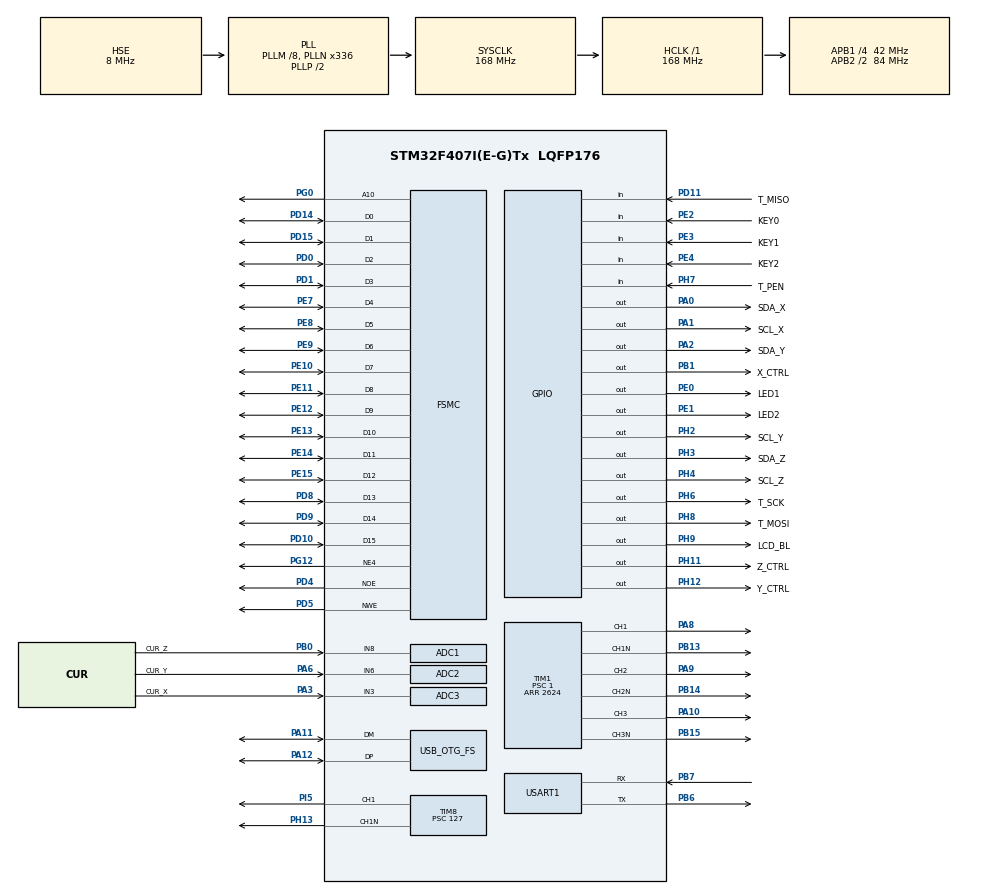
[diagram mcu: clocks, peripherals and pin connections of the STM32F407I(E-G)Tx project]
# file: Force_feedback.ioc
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ADC1.Channel-1\#ChannelRegularConversion=ADC_CHANNEL_8
ADC1.Channel-2\#ChannelInjectedConversion=ADC_CHANNEL_8
ADC1.ClockPrescaler=ADC_CLOCK_SYNC_PCLK_DIV6
ADC1.ContinuousConvMode=ENABLE
ADC1.DMAContinuousRequests=ENABLE
ADC1.ExternalTrigInjecConv=ADC_EXTERNALTRIGINJECCONV_T1_TRGO
ADC1.InjNumberOfConversion=1
ADC1.InjectedOffset-2\#ChannelInjectedConversion=0
ADC1.InjectedRank-2\#ChannelInjectedConversion=1
ADC1.NbrOfConversion=1
ADC1.NbrOfConversionFlag=1
ADC1.Rank-1\#ChannelRegularConversion=1
ADC1.SamplingTime-1\#ChannelRegularConversion=ADC_SAMPLETIME_28CYCLES
ADC1.SamplingTime-2\#ChannelInjectedConversion=ADC_SAMPLETIME_28CYCLES
ADC1.ScanConvMode=ENABLE
ADC1.master=1
ADC2.Channel-0\#ChannelRegularConversion=ADC_CHANNEL_6
ADC2.Channel-1\#ChannelInjectedConversion=ADC_CHANNEL_6
ADC2.ClockPrescaler=ADC_CLOCK_SYNC_PCLK_DIV6
ADC2.ContinuousConvMode=ENABLE
ADC2.ExternalTrigInjecConv=ADC_EXTERNALTRIGINJECCONV_T1_TRGO
ADC2.InjNumberOfConversion=1
ADC2.InjectedOffset-1\#ChannelInjectedConversion=0
ADC2.InjectedRank-1\#ChannelInjectedConversion=1
ADC2.NbrOfConversionFlag=1
ADC2.Rank-0\#ChannelRegularConversion=1
ADC2.SamplingTime-0\#ChannelRegularConversion=ADC_SAMPLETIME_3CYCLES
ADC2.SamplingTime-1\#ChannelInjectedConversion=ADC_SAMPLETIME_28CYCLES
ADC2.ScanConvMode=ENABLE
ADC3.Channel-0\#ChannelRegularConversion=ADC_CHANNEL_3
ADC3.Channel-1\#ChannelInjectedConversion=ADC_CHANNEL_3
ADC3.ClockPrescaler=ADC_CLOCK_SYNC_PCLK_DIV6
ADC3.ContinuousConvMode=ENABLE
ADC3.ExternalTrigInjecConv=ADC_EXTERNALTRIGINJECCONV_T1_TRGO
ADC3.InjNumberOfConversion=1
ADC3.InjectedOffset-1\#ChannelInjectedConversion=0
ADC3.InjectedRank-1\#ChannelInjectedConversion=1
ADC3.NbrOfConversionFlag=1
ADC3.Rank-0\#ChannelRegularConversion=1
ADC3.SamplingTime-0\#ChannelRegularConversion=ADC_SAMPLETIME_3CYCLES
ADC3.SamplingTime-1\#ChannelInjectedConversion=ADC_SAMPLETIME_28CYCLES
ADC3.ScanConvMode=ENABLE
Dma.ADC1.0.Direction=DMA_PERIPH_TO_MEMORY
Dma.ADC1.0.FIFOMode=DMA_FIFOMODE_DISABLE
Dma.ADC1.0.Instance=DMA2_Stream0
Dma.ADC1.0.MemDataAlignment=DMA_MDATAALIGN_HALFWORD
Dma.ADC1.0.MemInc=DMA_MINC_ENABLE
Dma.ADC1.0.Mode=DMA_CIRCULAR
Dma.ADC1.0.PeriphDataAlignment=DMA_PDATAALIGN_HALFWORD
Dma.ADC1.0.PeriphInc=DMA_PINC_DISABLE
Dma.ADC1.0.Priority=DMA_PRIORITY_MEDIUM
Dma.Request0=ADC1
Dma.Request1=USART1_TX
Dma.USART1_TX.1.Direction=DMA_MEMORY_TO_PERIPH
Dma.USART1_TX.1.FIFOMode=DMA_FIFOMODE_DISABLE
Dma.USART1_TX.1.Instance=DMA2_Stream7
Dma.USART1_TX.1.MemDataAlignment=DMA_MDATAALIGN_BYTE
Dma.USART1_TX.1.MemInc=DMA_MINC_ENABLE
Dma.USART1_TX.1.Mode=DMA_NORMAL
Dma.USART1_TX.1.PeriphDataAlignment=DMA_PDATAALIGN_BYTE
Dma.USART1_TX.1.PeriphInc=DMA_PINC_DISABLE
Dma.USART1_TX.1.Priority=DMA_PRIORITY_LOW
FSMC.AddressSetupTime4=2
FSMC.BusTurnAroundDuration4=0
FSMC.DataSetupTime4=5
FSMC.ExtendedAddressSetupTime4=0
FSMC.ExtendedBusTurnAroundDuration4=0
FSMC.ExtendedMode4=FSMC_EXTENDED_MODE_ENABLE
Mcu.Family=STM32F4
Mcu.Name=STM32F407I(E-G)Tx
Mcu.Package=LQFP176
NVIC.ADC_IRQn=true\:1\:0\:true\:false\:true\:true\:true\:true
NVIC.DMA2_Stream0_IRQn=true\:0\:0\:false\:false\:true\:false\:true\:true
NVIC.DMA2_Stream7_IRQn=true\:0\:0\:false\:false\:true\:false\:true\:true
NVIC.PriorityGroup=NVIC_PRIORITYGROUP_4
NVIC.TIM6_DAC_IRQn=true\:0\:0\:false\:false\:true\:true\:true\:true
NVIC.USART1_IRQn=true\:0\:0\:false\:false\:true\:true\:true\:true
PA0-WKUP.GPIO_Label=SDA_X
PA0-WKUP.GPIO_ModeDefaultOutputPP=GPIO_MODE_OUTPUT_OD
PA0-WKUP.GPIO_PuPd=GPIO_PULLUP
PA0-WKUP.GPIO_Speed=GPIO_SPEED_FREQ_LOW
PA0-WKUP.PinState=GPIO_PIN_SET
PA0-WKUP.Signal=GPIO_Output
PA1.GPIO_Label=SCL_X
PA1.GPIO_PuPd=GPIO_PULLUP
PA1.GPIO_Speed=GPIO_SPEED_FREQ_LOW
PA1.PinState=GPIO_PIN_SET
PA1.Signal=GPIO_Output
PA10.GPIO_Speed=GPIO_SPEED_FREQ_HIGH
PA10.Signal=S_TIM1_CH3
PA11.Mode=Device_Only
PA11.Signal=USB_OTG_FS_DM
PA12.Mode=Device_Only
PA12.Signal=USB_OTG_FS_DP
PA13.Mode=Serial_Wire
PA13.Signal=SYS_JTMS-SWDIO
PA14.Mode=Serial_Wire
PA14.Signal=SYS_JTCK-SWCLK
PA2.GPIO_Label=SDA_Y
PA2.GPIO_ModeDefaultOutputPP=GPIO_MODE_OUTPUT_OD
PA2.GPIO_PuPd=GPIO_PULLUP
PA2.GPIO_Speed=GPIO_SPEED_FREQ_LOW
PA2.PinState=GPIO_PIN_SET
PA2.Signal=GPIO_Output
PA3.GPIO_Label=CUR_X
PA3.Signal=ADCx_IN3
PA6.GPIO_Label=CUR_Y
PA6.Signal=ADCx_IN6
PA8.GPIO_Speed=GPIO_SPEED_FREQ_HIGH
PA8.Signal=S_TIM1_CH1
PA9.GPIO_Speed=GPIO_SPEED_FREQ_HIGH
PA9.Signal=S_TIM1_CH2
PB0.GPIO_Label=CUR_Z
PB0.Signal=ADCx_IN8
PB1.GPIO_Label=X_CTRL
PB1.Signal=GPIO_Output
PB13.GPIO_Speed=GPIO_SPEED_FREQ_HIGH
PB13.Mode=PWM Generation1 CH1 CH1N
PB13.Signal=TIM1_CH1N
PB14.GPIO_Speed=GPIO_SPEED_FREQ_HIGH
PB14.Mode=PWM Generation2 CH2 CH2N
PB14.Signal=TIM1_CH2N
PB15.GPIO_Speed=GPIO_SPEED_FREQ_HIGH
PB15.Mode=PWM Generation3 CH3 CH3N
PB15.Signal=TIM1_CH3N
PB6.Mode=Asynchronous
PB6.Signal=USART1_TX
PB7.Mode=Asynchronous
PB7.Signal=USART1_RX
PC0.Signal=ADCx_IN10
PC14-OSC32_IN.Mode=LSE-External-Oscillator
PC14-OSC32_IN.Signal=RCC_OSC32_IN
PC15-OSC32_OUT.Mode=LSE-External-Oscillator
PC15-OSC32_OUT.Signal=RCC_OSC32_OUT
PD0.Signal=FSMC_D2_DA2
PD1.Signal=FSMC_D3_DA3
PD10.Signal=FSMC_D15_DA15
PD11.GPIO_Label=T_MISO
PD11.Signal=GPIO_Input
PD14.Signal=FSMC_D0_DA0
PD15.Signal=FSMC_D1_DA1
PD4.Signal=FSMC_NOE
PD5.Signal=FSMC_NWE
PD8.Signal=FSMC_D13_DA13
PD9.Signal=FSMC_D14_DA14
PE0.GPIO_Label=LED1
PE0.PinState=GPIO_PIN_SET
PE0.Signal=GPIO_Output
PE1.GPIO_Label=LED2
PE1.PinState=GPIO_PIN_SET
PE1.Signal=GPIO_Output
PE10.Signal=FSMC_D7_DA7
PE11.Signal=FSMC_D8_DA8
PE12.Signal=FSMC_D9_DA9
PE13.Signal=FSMC_D10_DA10
PE14.Signal=FSMC_D11_DA11
PE15.Signal=FSMC_D12_DA12
PE2.GPIO_Label=KEY0
PE2.GPIO_PuPd=GPIO_PULLUP
PE2.Signal=GPIO_Input
PE3.GPIO_Label=KEY1
PE3.GPIO_PuPd=GPIO_PULLUP
PE3.Signal=GPIO_Input
PE4.GPIO_Label=KEY2
PE4.GPIO_PuPd=GPIO_PULLUP
PE4.Signal=GPIO_Input
PE7.Signal=FSMC_D4_DA4
PE8.Signal=FSMC_D5_DA5
PE9.Signal=FSMC_D6_DA6
PG0.Signal=FSMC_A10
PG12.Mode=NorPsramChipSelect4_4
PG12.Signal=FSMC_NE4
PH0-OSC_IN.Mode=HSE-External-Oscillator
PH0-OSC_IN.Signal=RCC_OSC_IN
PH1-OSC_OUT.Mode=HSE-External-Oscillator
PH1-OSC_OUT.Signal=RCC_OSC_OUT
PH11.GPIO_Label=Z_CTRL
PH11.Signal=GPIO_Output
PH12.GPIO_Label=Y_CTRL
PH12.Signal=GPIO_Output
PH13.Mode=PWM Generation1 CH1 CH1N
PH13.Signal=TIM8_CH1N
PH2.GPIO_Label=SCL_Y
PH2.GPIO_PuPd=GPIO_PULLUP
PH2.PinState=GPIO_PIN_SET
PH2.Signal=GPIO_Output
PH3.GPIO_Label=SDA_Z
PH3.GPIO_ModeDefaultOutputPP=GPIO_MODE_OUTPUT_OD
PH3.GPIO_PuPd=GPIO_PULLUP
PH3.PinState=GPIO_PIN_SET
PH3.Signal=GPIO_Output
PH4.GPIO_Label=SCL_Z
PH4.GPIO_PuPd=GPIO_PULLUP
PH4.PinState=GPIO_PIN_SET
PH4.Signal=GPIO_Output
PH6.GPIO_Label=T_SCK
PH6.Signal=GPIO_Output
PH7.GPIO_Label=T_PEN
PH7.Signal=GPIO_Input
PH8.GPIO_Label=T_MOSI
PH8.Signal=GPIO_Output
PH9.GPIO_Label=LCD_BL
PH9.Signal=GPIO_Output
PI5.Signal=S_TIM8_CH1
ProjectManager.HeapSize=0x200
ProjectManager.StackSize=0x400
ProjectManager.TargetToolchain=MDK-ARM V5.32
RCC.48MHZClocksFreq_Value=48000000
RCC.AHBFreq_Value=168000000
RCC.APB1CLKDivider=RCC_HCLK_DIV4
RCC.APB1Freq_Value=42000000
RCC.APB1TimFreq_Value=84000000
RCC.APB2CLKDivider=RCC_HCLK_DIV2
RCC.APB2Freq_Value=84000000
RCC.APB2TimFreq_Value=168000000
RCC.CortexFreq_Value=168000000
RCC.HCLKFreq_Value=168000000
RCC.HSE_VALUE=8000000
RCC.HSI_VALUE=16000000
RCC.PLLM=8
RCC.PLLN=336
RCC.PLLQ=7
RCC.SYSCLKFreq_VALUE=168000000
RCC.SYSCLKSource=RCC_SYSCLKSOURCE_PLLCLK
RCC.VCOOutputFreq_Value=336000000
SH.ADCx_IN10.0=ADC1_IN10
SH.ADCx_IN3.0=ADC3_IN3,IN3
SH.ADCx_IN6.0=ADC2_IN6,IN6
SH.ADCx_IN8.0=ADC1_IN8,IN8
SH.FSMC_A10.0=FSMC_A10,A10_4
SH.FSMC_D0_DA0.0=FSMC_D0,16b-d4
SH.FSMC_D10_DA10.0=FSMC_D10,16b-d4
SH.FSMC_D11_DA11.0=FSMC_D11,16b-d4
SH.FSMC_D12_DA12.0=FSMC_D12,16b-d4
SH.FSMC_D13_DA13.0=FSMC_D13,16b-d4
SH.FSMC_D14_DA14.0=FSMC_D14,16b-d4
SH.FSMC_D15_DA15.0=FSMC_D15,16b-d4
SH.FSMC_D1_DA1.0=FSMC_D1,16b-d4
SH.FSMC_D2_DA2.0=FSMC_D2,16b-d4
SH.FSMC_D3_DA3.0=FSMC_D3,16b-d4
SH.FSMC_D4_DA4.0=FSMC_D4,16b-d4
SH.FSMC_D5_DA5.0=FSMC_D5,16b-d4
SH.FSMC_D6_DA6.0=FSMC_D6,16b-d4
SH.FSMC_D7_DA7.0=FSMC_D7,16b-d4
SH.FSMC_D8_DA8.0=FSMC_D8,16b-d4
SH.FSMC_D9_DA9.0=FSMC_D9,16b-d4
SH.FSMC_NOE.0=FSMC_NOE,Lcd4
SH.FSMC_NWE.0=FSMC_NWE,Lcd4
SH.S_TIM1_CH1.0=TIM1_CH1,PWM Generation1 CH1 CH1N
SH.S_TIM1_CH2.0=TIM1_CH2,PWM Generation2 CH2 CH2N
SH.S_TIM1_CH3.0=TIM1_CH3,PWM Generation3 CH3 CH3N
SH.S_TIM8_CH1.0=TIM8_CH1,PWM Generation1 CH1 CH1N
TIM1.Channel-PWM\ Generation1\ CH1\ CH1N=TIM_CHANNEL_1
TIM1.Channel-PWM\ Generation2\ CH2\ CH2N=TIM_CHANNEL_2
TIM1.Channel-PWM\ Generation3\ CH3\ CH3N=TIM_CHANNEL_3
TIM1.CounterMode=TIM_COUNTERMODE_CENTERALIGNED1
TIM1.DeadTime=0
TIM1.Period=2624
TIM1.Prescaler=1
TIM1.TIM_MasterOutputTrigger=TIM_TRGO_UPDATE
TIM1.TIM_MasterSlaveMode=TIM_MASTERSLAVEMODE_ENABLE
TIM6.Period=999
TIM6.Prescaler=8399
TIM8.Channel-PWM\ Generation1\ CH1\ CH1N=TIM_CHANNEL_1
TIM8.Period=999
TIM8.Prescaler=127
USART1.VirtualMode=VM_ASYNC
USB_OTG_FS.VirtualMode=Device_Only
VP_TIM1_VS_ClockSourceINT.Mode=Internal
VP_TIM6_VS_ClockSourceINT.Mode=Enable_Timer
board=custom

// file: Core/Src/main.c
/* USER CODE BEGIN Header */
/**
 ******************************************************************************
 * @file           : main.c
 * @brief          : Main program body
 ******************************************************************************
 * @attention
 *
 * Copyright (c) 2026 STMicroelectronics.
 * All rights reserved.
 *
 * This software is licensed under terms that can be found in the LICENSE file
 * in the root directory of this software component.
 * If no LICENSE file comes with this software, it is provided AS-IS.
 *
 ******************************************************************************
 */
/* USER CODE END Header */
#include "main.h"
#include "adc.h"
#include "dma.h"
#include "tim.h"
#include "usart.h"
#include "usb_otg.h"
#include "gpio.h"
#include "fsmc.h"

/* USER CODE BEGIN Includes */
#include <stdlib.h>
#include <stdio.h>
#include "key_led.h"
#include "brush_motor.h"
#include "delay.h"
#include "lcd.h"
#include "current_sensor.h"
#include "voltage_sensor.h"
#include "temper_sensor.h"
#include "current_loop.h"
#include "pid.h"
#include "user_config.h"
#include "vofa_plus.h"
#include "pid_param_parse.h"
#include "string.h"
#include "as5600.h"
#include "math.h"
/* USER CODE END Includes */

/* USER CODE BEGIN PD */
/*---- DWT 滴答时钟（μs）---- */
/*
 * 利用 Cortex-M4 DWT 周期计数器做高精度时间戳。
 * DWT_CYCCNT 每时钟周期 +1，168MHz 下约 59.5ns 分辨率。
 */
#define DWT_TICK_US (DWT->CYCCNT / (SystemCoreClock / 1000000u))
#define DWT_TICK_MS (DWT_TICK_US / 1000u)

#define PI 3.14159265358979f

/* USER CODE END PD */

/* USER CODE BEGIN PV */
AS5600_Device_t enc_x, enc_y, enc_z;
BrushMotorConfig motor[3] =
    {
        {&htim1, TIM_CHANNEL_1, 2625, X_CTRL_GPIO_Port, X_CTRL_Pin, 1},
        {&htim1, TIM_CHANNEL_2, 2625, Y_CTRL_GPIO_Port, Y_CTRL_Pin, 1},
        {&htim1, TIM_CHANNEL_3, 2625, Z_CTRL_GPIO_Port, Z_CTRL_Pin, 1},
};
extern uint16_t adc_raw_data[ADC_TOTAL_SAMPLES]; // 原始ADC采样值（单通道×采样次数）
extern float adc_filtered_data[ADC_CHANNEL_NUM]; // 滤波后的ADC平均值（浮点型）

extern CurrentLoopCtrl current_loop[3];
extern PID_ParamParser_t current_pid_parse;

/* ---- 演示状态 ---- */
uint8_t closed_loop_active[3] = {0};  /* 闭环演示是否激活（KEY0控制启停）         */
extern uint32_t adc_injected_data[3]; /* adc.c 定义的注入通道转换结果              */

uint16_t vofa_send_cnt = 0; // VOFA+发送频率计数器，配合定时器中断实现定期发送调试数据到VOFA+

/* USB通信 */
unsigned char USB_Recive_Buffer[64]; // USB接收缓存
unsigned char USB_Received_Count = 64;

/* USER CODE END PV */

void SystemClock_Config(void);

/* USER CODE BEGIN 0 */
float ang_x = 0, ang_y = 0, ang_z = 0;
float Position_X = 0, Position_Y = 0, Position_Z = 0;
float roll = 0, pitch = 0, yaw = 0;

/* USER CODE END 0 */

int main(void)
{

  /* MCU Configuration--------------------------------------------------------*/

  /* Reset of all peripherals, Initializes the Flash interface and the Systick. */
  HAL_Init();

  /* Configure the system clock */
  SystemClock_Config();

  /* Initialize all configured peripherals */
  MX_GPIO_Init();
  MX_DMA_Init();
  MX_ADC1_Init();
  MX_FSMC_Init();
  MX_TIM1_Init();
  MX_TIM8_Init();
  MX_TIM6_Init();
  MX_USART1_UART_Init();
  MX_ADC2_Init();
  MX_ADC3_Init();
  MX_USB_OTG_FS_PCD_Init();
  /* USER CODE BEGIN 2 */
    DWT_Init();       // 初始化DWT
    lcd_init();       // 初始化LCD
    VOFA_Plus_Init(); // 初始化VOFA+模块

    HAL_TIM_Base_Start(&htim1);    // 打开定时器
    HAL_TIM_Base_Start_IT(&htim6); // 打开电压，温度，VOFA+的定时中断
    // HAL_ADC_Start_DMA(&hadc1, (uint32_t *)adc_raw_data, ADC_TOTAL_SAMPLES); // 启动ADC1的DMA采集
    HAL_Delay(10);

    AS5600_Init(&enc_x, SDA_X_GPIO_Port, SDA_X_Pin, SCL_X_GPIO_Port, SCL_X_Pin);
    AS5600_Init(&enc_y, SDA_Y_GPIO_Port, SDA_Y_Pin, SCL_Y_GPIO_Port, SCL_Y_Pin);
    AS5600_Init(&enc_z, SDA_Z_GPIO_Port, SDA_Z_Pin, SCL_Z_GPIO_Port, SCL_Z_Pin);

    /* 电机初始化 */
    BrushMotor_Init(&motor[0]);
    BrushMotor_Init(&motor[1]);
    BrushMotor_Init(&motor[2]);

    /* 自举电容预充电：50%互补PWM短暂运行，双半桥等位不转，Cboot充满 */
    BrushMotor_BootstrapCharge(&motor[0]);
    BrushMotor_BootstrapCharge(&motor[1]);
    BrushMotor_BootstrapCharge(&motor[2]);

    /* 初始方向为正向 */
    BrushMotor_SetDirection(&motor[0], MOTOR_FORWARD);
    BrushMotor_SetDirection(&motor[1], MOTOR_FORWARD);
    BrushMotor_SetDirection(&motor[2], MOTOR_FORWARD);

    /* 初始化速度为0 */
    BrushMotor_SetSpeed(&motor[0], 0);
    BrushMotor_SetSpeed(&motor[1], 0);
    BrushMotor_SetSpeed(&motor[2], 0);

    /* 初始化电机使能 */
    BrushMotor_Enable(&motor[0]);
    BrushMotor_Enable(&motor[1]);
    BrushMotor_Enable(&motor[2]);

    HAL_Delay(500);

    /* 电流零点校准 */
    BSP_CurrentSensor_Init();
    // BSP_VoltageSensor_Init(); /* 电压采集初始化 */

    /* 电机关闭 */
    BrushMotor_Disable(&motor[0]);
    BrushMotor_Disable(&motor[1]);
    BrushMotor_Disable(&motor[2]);

    /* ---- 初始化电流环控制器（绑定电机驱动，加载默认 PID 参数） ---- */
    CurrentLoop_Init(&current_loop[0], &motor[0]);
    current_loop[0].motor_id = 0;
    CurrentLoop_Init(&current_loop[1], &motor[1]);
    current_loop[1].motor_id = 1;
    CurrentLoop_Init(&current_loop[2], &motor[2]);
    current_loop[2].motor_id = 2;

    CurrentLoop_SetPID(&current_loop[0], PID_KP_X, PID_KI_X, PID_KD_X);
    CurrentLoop_SetPID(&current_loop[1], PID_KP_Y, PID_KI_Y, PID_KD_Y);
    CurrentLoop_SetPID(&current_loop[2], PID_KP_Z, PID_KI_Z, PID_KD_Z);
  /* USER CODE END 2 */

  /* Infinite loop */
  /* USER CODE BEGIN WHILE */
    char buffer[50]; // 用于显示占空比的缓冲区
    while (1)
    {

        /* ---- 串口指令解析 ---- */
        PID_ParseState_t parse_state = PID_ParamParser_Parse(&current_pid_parse);
        if (parse_state == PARSE_STATE_COMPLETE)
        {
            ParsedCmd_t cmd = PID_ParamParser_GetCmd(&current_pid_parse);

            if (cmd.type == CMD_TYPE_RST)
            {
                /* RST：同时停止3路 */
                for (int i = 0; i < 3; i++)
                {
                    CurrentLoop_SetTarget(&current_loop[i], 0.0f);
                    CurrentLoop_Stop(&current_loop[i]);
                    closed_loop_active[i] = 0;
                }
            }
            else if (cmd.type == CMD_TYPE_TARGET)
            {
                /* X/Y/Z：分别设目标电流，没启动就自动启动 */
                CurrentLoop_SetTarget(&current_loop[0], cmd.target_x);
                CurrentLoop_SetTarget(&current_loop[1], cmd.target_y);
                CurrentLoop_SetTarget(&current_loop[2], cmd.target_z);
                for (int i = 0; i < 3; i++)
                {
                    if (CurrentLoop_GetState(&current_loop[i]) != CURRENT_LOOP_RUNNING)
                    {
                        CurrentLoop_Start(&current_loop[i]);
                        closed_loop_active[i] = 1;
                    }
                }
            }
            else if (cmd.type == CMD_TYPE_PID)
            {
                /* KP/KI/KD：同时应用到3路 */
                for (int i = 0; i < 3; i++)
                {
                    CurrentLoop_SetPID(&current_loop[i], cmd.kp, cmd.ki, cmd.kd);
                }
            }

            else if (cmd.type == CMD_TYPE_PID_AXIS)
            {
                /* PID_X/Y/Z:kp,ki,kd; 单独设置某一路PID */
                CurrentLoop_SetPID(&current_loop[cmd.pid_axis], cmd.kp, cmd.ki, cmd.kd);
            }

            PID_ParamParser_Reset(&current_pid_parse);
        }
        else if (parse_state == PARSE_STATE_ERROR)
        {
            PID_ParamParser_Reset(&current_pid_parse);
        }

        float current_x_ma = BSP_CurrentSensor_GetCurrent(0);
        float current_y_ma = BSP_CurrentSensor_GetCurrent(1);
        float current_z_ma = BSP_CurrentSensor_GetCurrent(2);

        ang_x = AS5600_GetAngle(&enc_x); /* X轴角度 */
        ang_y = AS5600_GetAngle(&enc_y); /* Y轴角度 */
        ang_z = AS5600_GetAngle(&enc_z); /* Z轴行程 */

        float X = -ang_x * 8.6f * PI / 180.0f;
        float Y = ang_y * 7.9f * PI / 180.0f;
        float Z = -ang_z;

        float P = 24.6f - Z;
        float sy = sinf(Y), cy = cosf(Y);
        float sx = sinf(X), cx = cosf(X);

        float a = (cy + sy) / 2.0f; // sin(45°+Y)/√2
        float b = (cy - sy) / 2.0f; // cos(45°+Y)/√2

        Position_X = P * (cy + sy) * sx / 1.414f;
        Position_Y = -P * (a * cx - b);
        Position_Z = 24.6f - P * (a * cx + b);

        float dX, dY, dZ;
        if (P > 0.001f)
        {
            dX = Position_X / P;
            dY = Position_Y / P;
            dZ = (Position_Z - 24.6f) / P;
        }
        else
        {
            dX = 0;
            dY = 0;
            dZ = -1;
        }

        // ===== 四元数：从 (0,0,-1) 旋转到 (dx,dy,dz) =====
        float qw, qx, qy, qz;
        float nrm = sqrtf(dX * dX + dY * dY + dZ * dZ);
        if (nrm < 0.001f)
        {
            qw = 1;
            qx = 0;
            qy = 0;
            qz = 0;
        }
        else
        {
            float nx = dX / nrm, ny = dY / nrm, nz = dZ / nrm;
            float dot = -nz;
            if (dot > 0.9999f)
            {
                qw = 1;
                qx = 0;
                qy = 0;
                qz = 0;
            }
            else if (dot < -0.9999f)
            {
                qw = 0;
                qx = 1;
                qy = 0;
                qz = 0;
            }
            else
            {
                float s = sqrtf((1 + dot) * 2);
                qw = s / 2;
                qx = -ny / s;
                qy = nx / s;
                qz = 0;
            }
        }

        // ===== 四元数 → 欧拉角（ZYX 顺序） =====
        roll = atan2f(2 * (qw * qx + qy * qz), 1 - 2 * (qx * qx + qy * qy));
        pitch = asinf(2 * (qw * qy - qz * qx));
        yaw = atan2f(2 * (qw * qz + qx * qy), 1 - 2 * (qy * qy + qz * qz));

        roll *= -180.0f / PI;
        pitch *= 180.0f / PI;
        yaw *= -180.0f / PI;

        // /* ============ LCD显示：3路电流环数据 ============ */
        // /* ---- 电机X (索引0) ---- */
        // sprintf(buffer, "PWM_X:%.0f%%  ", PID_GetOutput(&current_loop[0].pid));
        // lcd_show_string(10, 10, 300, 12, 12, buffer, RED);
        // sprintf(buffer, "Tgt_X:%.0fmA  ", CurrentLoop_GetTarget(&current_loop[0]));
        // lcd_show_string(10, 25, 300, 12, 12, buffer, BLUE);
        // sprintf(buffer, "Cur_X:%.0fmA  ", current_x_ma);
        // lcd_show_string(10, 40, 300, 12, 12, buffer, BLUE);

        // sprintf(buffer, "ADC_X:%lu Off_X:%.0f",
        //         (unsigned long)adc_injected_data[0],
        //         BSP_CurrentSensor_GetOffsetById(0));
        // lcd_show_string(10, 55, 300, 12, 12, buffer, BLUE);

        // /* ---- 电机Y (索引1) ---- */
        // sprintf(buffer, "PWM_Y:%.0f%%  ", PID_GetOutput(&current_loop[1].pid));
        // lcd_show_string(10, 80, 300, 12, 12, buffer, RED);
        // sprintf(buffer, "Tgt_Y:%.0fmA  ", CurrentLoop_GetTarget(&current_loop[1]));
        // lcd_show_string(10, 95, 300, 12, 12, buffer, BLUE);
        // sprintf(buffer, "Cur_Y:%.0fmA  ", current_y_ma);
        // lcd_show_string(10, 110, 300, 12, 12, buffer, BLUE);

        // sprintf(buffer, "ADC_Y:%lu Off_Y:%.0f",
        //         (unsigned long)adc_injected_data[1],
        //         BSP_CurrentSensor_GetOffsetById(1));
        // lcd_show_string(10, 125, 300, 12, 12, buffer, BLUE);

        // /* ---- 电机Z (索引2) ---- */
        // sprintf(buffer, "PWM_Z:%.0f%%  ", PID_GetOutput(&current_loop[2].pid));
        // lcd_show_string(10, 150, 300, 12, 12, buffer, RED);
        // sprintf(buffer, "Tgt_Z:%.0fmA  ", CurrentLoop_GetTarget(&current_loop[2]));
        // lcd_show_string(10, 165, 300, 12, 12, buffer, BLUE);
        // sprintf(buffer, "Cur_Z:%.0fmA  ", current_z_ma);
        // lcd_show_string(10, 180, 300, 12, 12, buffer, BLUE);

        // sprintf(buffer, "ADC_Z:%lu Off_Z:%.0f",
        //         (unsigned long)adc_injected_data[2],
        //         BSP_CurrentSensor_GetOffsetById(2));
        // lcd_show_string(10, 195, 300, 12, 12, buffer, BLUE);

        // //        /* ---- 电压 ---- */
        // //        sprintf(buffer, "V:%.1fV   ",
        // //                BSP_VoltageSensor_GetPowerVoltage());
        // //        lcd_show_string(10, 165, 300, 12, 12, buffer, BLUE);

        // /* ---- 三路PID参数 ---- */
        // sprintf(buffer, "X:Kp%.3f Ki%.3f Kd%.3f",
        //         current_loop[0].pid.Kp, current_loop[0].pid.Ki, current_loop[0].pid.Kd);
        // lcd_show_string(10, 220, 400, 12, 12, buffer, BLUE);

        // sprintf(buffer, "Y:Kp%.3f Ki%.3f Kd%.3f",
        //         current_loop[1].pid.Kp, current_loop[1].pid.Ki, current_loop[1].pid.Kd);
        // lcd_show_string(10, 235, 400, 12, 12, buffer, BLUE);

        // sprintf(buffer, "Z:Kp%.3f Ki%.3f Kd%.3f",
        //         current_loop[2].pid.Kp, current_loop[2].pid.Ki, current_loop[2].pid.Kd);
        // lcd_show_string(10, 250, 400, 12, 12, buffer, BLUE);

        // /* ---- 三路编码器参数 ---- */
        // sprintf(buffer, "X:%5.1f Y:%5.1f Z:%5.1f",
        //         ang_x, ang_y, ang_z);
        // lcd_show_string(10, 10, 400, 12, 12, buffer, BLUE);

        // sprintf(buffer, "PX:%5.1f PY:%5.1f PZ:%5.1f",
        //         Position_X, Position_Y, Position_Z);
        // lcd_show_string(10, 25, 400, 12, 12, buffer, BLUE);

        // sprintf(buffer, "Roll:%5.1f Pitch:%5.1f Yaw:%5.1f",
        //         roll, pitch, yaw);
        // lcd_show_string(10, 40, 400, 12, 12, buffer, BLUE);

    /* USER CODE END WHILE */

    }
}

void SystemClock_Config(void)
{
  RCC_OscInitTypeDef RCC_OscInitStruct = {0};
  RCC_ClkInitTypeDef RCC_ClkInitStruct = {0};

  /** Configure the main internal regulator output voltage
  */
  __HAL_RCC_PWR_CLK_ENABLE();
  __HAL_PWR_VOLTAGESCALING_CONFIG(PWR_REGULATOR_VOLTAGE_SCALE1);

  /** Initializes the RCC Oscillators according to the specified parameters
  * in the RCC_OscInitTypeDef structure.
  */
  RCC_OscInitStruct.OscillatorType = RCC_OSCILLATORTYPE_HSE;
  RCC_OscInitStruct.HSEState = RCC_HSE_ON;
  RCC_OscInitStruct.PLL.PLLState = RCC_PLL_ON;
  RCC_OscInitStruct.PLL.PLLSource = RCC_PLLSOURCE_HSE;
  RCC_OscInitStruct.PLL.PLLM = 8;
  RCC_OscInitStruct.PLL.PLLN = 336;
  RCC_OscInitStruct.PLL.PLLP = RCC_PLLP_DIV2;
  RCC_OscInitStruct.PLL.PLLQ = 7;
  if (HAL_RCC_OscConfig(&RCC_OscInitStruct) != HAL_OK)
  {
    Error_Handler();
  }

  /** Initializes the CPU, AHB and APB buses clocks
  */
  RCC_ClkInitStruct.ClockType = RCC_CLOCKTYPE_HCLK|RCC_CLOCKTYPE_SYSCLK
                              |RCC_CLOCKTYPE_PCLK1|RCC_CLOCKTYPE_PCLK2;
  RCC_ClkInitStruct.SYSCLKSource = RCC_SYSCLKSOURCE_PLLCLK;
  RCC_ClkInitStruct.AHBCLKDivider = RCC_SYSCLK_DIV1;
  RCC_ClkInitStruct.APB1CLKDivider = RCC_HCLK_DIV4;
  RCC_ClkInitStruct.APB2CLKDivider = RCC_HCLK_DIV2;

  if (HAL_RCC_ClockConfig(&RCC_ClkInitStruct, FLASH_LATENCY_5) != HAL_OK)
  {
    Error_Handler();
  }
}

/* USER CODE BEGIN 4 */
// 中断回调函数
void HAL_TIM_PeriodElapsedCallback(TIM_HandleTypeDef *htim)
{
    if (htim->Instance == TIM6)
    {
        VOFA_Plus_SendCurrentLoopData();
    }
}
/* USER CODE END 4 */

void Error_Handler(void)
{
    __disable_irq();
    while (1)
    {
    }
}
